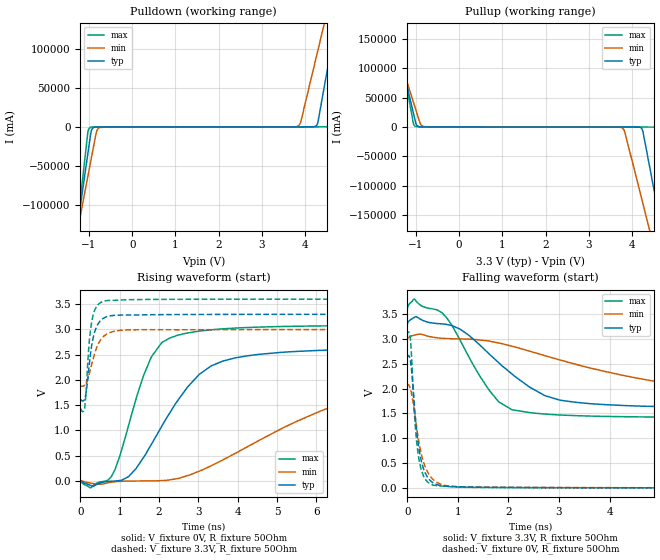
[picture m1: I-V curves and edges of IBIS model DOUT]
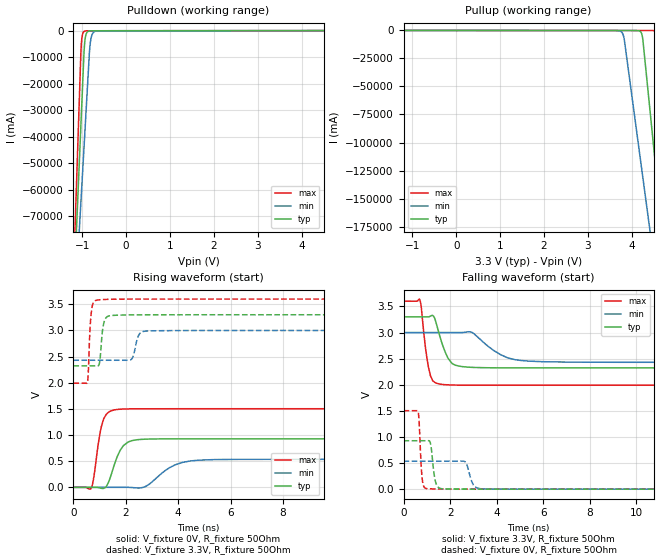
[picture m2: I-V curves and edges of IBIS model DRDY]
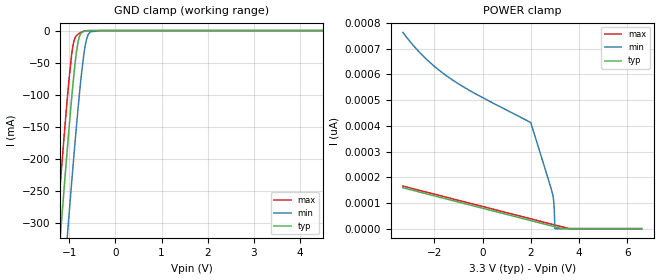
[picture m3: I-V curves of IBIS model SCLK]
|IBIS Model File - Generated by SIMDE
| http://www.iometh.com/Product/SIMDE
[IBIS Ver]   3.2
[File name]   max31865.ibs
[Date]   September 28, 2016
[File Rev]   1.0
[Source]   From silicon level SPICE model
[Notes]
[Disclaimer] Maxim Integrated Products, Inc. ("Maxim") hereby grants the
                user of this IBIS model ("User") a non-exclusive,
                nontransferable license to use this IBIS model under
                the following terms:
                1)  Before using this IBIS model, the User should read this
                license. If the User does not accept these terms,
                the IBIS model should not be used by the User;
                2)  The User is granted this license only to use the IBIS model
                and is not granted rights to sell, load, rent, lease or license
                the IBIS model in whole or in part, or in modified form to
                anyone other than User;
                3)  User may modify the IBIS model to suit its specific
                applications, but rights to derivative works and such
                modifications shall belong to Maxim;
                4)  This IBIS model is provided on an "AS IS" basis and Maxim
                makes absolutely no warranty with respect to the information
                contained herein;
                5)  MAXIMINTEGRATED DISCLAIMS AND USER WAIVES ALL WARRANTIES,
                EXPRESS OR IMPLIED, INCLUDING WARRANTIES OF MERCHANTABILITY AND
                FITNESS FOR A PARTICULAR PURPOSE;
                6)  The entire risk as to quality and performance is with the
                User. ACCORDINGLY, IN NO EVENT SHALL MAXIM BE LIABLE FOR ANY
                DAMAGES, WHETHER IN CONTRACT OR TORT, INCLUDING ANY LOST
                PROFITS OR OTHER INCIDENTAL, CONSEQUENTIAL, EXEMPLARY, OR
                PUNITIVE DAMAGES ARISING OUT OF THE USE OR APPLICATION OF
                THE IBIS model provided in this package;
                7)  Further, Maxim reserves the right to make changes without
                notice to any product herein to improve reliability, function,
                or design;
                8)  Maxim does not convey any license under patent rights or
                any other intellectual property rights, including those of
                third parties; and
                9)  Maxim is not obligated to provide maintenance or support
                for the licensed IBIS model.
[Copyright]   2016 Maxim Integrated Products, Inc.  All rights reserved.
|   Component MAX31865ATP
[Component]   MAX31865ATP
[Manufacturer]   Maxim Integrated Products
[Package]   |TQFN
|variable   typ   min   max
R_pkg   76m   70m   81m
L_pkg   0.85n   0.8n   0.90n
C_pkg   0.114p   0.1p   0.12p
[Pin]  signal_name  model_name  R_pin   L_pin   C_pin
1   BIAS   NC   NA   NA   NA
2   REFIN+   NC   NA   NA   NA
3   REFIN-   NC   NA   NA   NA
4   ISENSOR   NC   NA   NA   NA
5   FORCE+   NC   NA   NA   NA
6   FORCE2   NC   NA   NA   NA
7   RTDIN+   NC   NA   NA   NA
8   RTDIN-   NC   NA   NA   NA
9   FORCE-   NC   NA   NA   NA
10  GND2   GND   0.07   0.8n   0.1p
11  SDI   SCLK   0.073   0.8n   0.11p
12  SCLK   SCLK   0.071   0.8n   0.11p
13  CS   SCLK   0.075   0.9n   0.12p
14  SDO   DOUT   0.077   0.9n   0.12p
15  DGND   GND   0.08   0.9n   0.12p
16  GND1   GND   0.081   0.9n   0.12p
17  NC   NC   NA   NA   NA
18  DRDY   DRDY   0.074   0.8n   0.11p
19  DVDD   POWER   0.076   0.8n   0.11p
20  VDD   POWER   0.081   0.9n   0.12p
21  EP   GND   NA   NA   NA
[Component]   MAX31865AAP
[Manufacturer]   Maxim Integrated Products
[Package]   |SSOP
|variable   typ   min   max
R_pkg   76m   68m   84m
L_pkg   1.1n   1.0n   1.2n
C_pkg   0.109p   0.10p   0.12p
[Pin]   signal_name model_name  R_pin   L_pin   C_pin
1   DRDY   DRDY   0.079   1.1n   0.12p
2   DVDD   POWER   0.068   1.0n   0.11p
3   VDD   POWER   0.074   1.1n   0.12p
4   BIAS   NC   NA   NA   NA
5   REFIN+   NC   NA   NA   NA
6   REFIN-   NC   NA   NA   NA
7   ISENSOR   NC   NA   NA   NA
8   FORCE+   NC   NA   NA   NA
9   FORCE2   NC   NA   NA   NA
10  RTDIN+   NC   NA   NA   NA
11  RTDIN-   NC   NA   NA   NA
12  FORCE-   NC   NA   NA   NA
13  GND2   GND   0.073   1.1n   0.1p
14  SDI   SCLK   0.082   1.2n   0.11p
15  SCLK   SCLK   0.084   1.2n   0.11p
16  CS   SCLK   0.073   1.1n   0.1p
17  SDO   DOUT   0.084   1.2n   0.12p
18  DGND   GND   0.072   1.0n   0.1p
19  GND1   GND   0.069   1.0n   0.1p
20  NC   NC   NA   NA   NA
| Models and submodels in the file (3): DOUT (Output), DRDY (Output), SCLK (Input)
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|   DOUT
[Model]   DOUT
Model_type   Output
Polarity   Non-Inverting
Vmeas = 1.65
Vref = 0
Cref = 15pF
Rref = 1000
|   typ   min   max
C_comp   2.995e-12   3.271e-12   2.677e-12
|C_comp (ON state)   2.995e-12   3.271e-12   2.677e-12
|C_comp (OFF state)   2.239e-12   2.770e-12   1.902e-12
[Voltage Range]   3.3   3   3.6
[Temperature Range]   25   125   -40
[Pullup Reference]   3.3   3   3.6
[Pulldown Reference]   0   0   0
[Power Clamp Reference]   3.3   3   3.6
[GND Clamp Reference]   0   0   0
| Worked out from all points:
|   slope of the pulldown table from 0 to 0.495 V, typ, clamps not added: 44.2 ohm
|   slope of the pullup table from 0 to 0.495 V, typ, clamps not added: 12.1 ohm
|   falling waveform, V_fixture 3.3V, R_fixture 50Ohm: 20-80 % time 1.23ns typ, 2.83ns min, 766ps max; typ from 3.3 V to 1.6 V
|   rising waveform, V_fixture 0V, R_fixture 50Ohm: 20-80 % time 1.36ns typ, 3.54ns min, 763ps max; typ from 0 V to 2.63 V
|   rising waveform, V_fixture 3.3V, R_fixture 50Ohm: 20-80 % time 191ps typ, 283ps min, 139ps max; typ from 1.6 V to 3.3 V
|   falling waveform, V_fixture 0V, R_fixture 50Ohm: 20-80 % time 174ps typ, 233ps min, 131ps max; typ from 2.64 V to 0 V
[Pulldown]
|   Voltage   I(typ)   I(min)   I(max)
-3.3V     -919.8A    -726.7A    -1.139kA
-1.028V   -35.36A    -64.45A    -7.911A
-957mV    -7.846A    -43.64A    -271.8mA
-834mV    -89.97mA   -8.015A    -34.62mA
-744mV    -21.51mA   -593mA     -26.79mA
3.828V    57.05mA    912.7mA    84.49mA
3.9V      57.1mA     7.234A     84.59mA
4.28V     3.721A     95.83A     84.95mA
4.566V    90.84A     162.5A     183.3mA
4.616V    106.5A     174.3A     1.256A
4.656V    118.9A     183.5A     8.458A
6.597V    723.4A     636.2A     781.5A
[Pullup]
|   Voltage   I(typ)   I(min)   I(max)
-3.3V     722.6A     565.8A     899.7A
-1.057V   23.81A     42.5A      6.361A
-999.9mV  6.226A     29.13A     494mA
-900mV    215.6mA    6.115A     118.3mA
-807mV    80.48mA    458.8mA    103.6mA
3.774V    -118.5mA   -1.732A    -185.6mA
3.834V    -118.9mA   -9.605A    -186.1mA
4.237V    -4.811A    -127.1A    -190.2mA
4.537V    -119.3A    -214.6A    -330.8mA
4.588V    -139A      -229.3A    -1.693A
4.627V    -154.4A    -240.8A    -10.8A
6.597V    -921.2A    -815A      -991.4A
[Ramp]
R_load = 50
|   typ   min   max
dV/dt_r   1.58117/1.36272e-09   1.24723/3.54096e-09   1.84871/7.63312e-10
dV/dt_f   1.01928/1.22906e-09   0.672707/2.827e-09   1.30969/7.65942e-10
[Falling Waveform]
V_fixture = 3.3V
V_fixture_min = 3V
V_fixture_max = 3.6V
R_fixture = 50Ohm
C_fixture = 0F
|   Time   V(typ)   V(min)   V(max)
0s        3.3V       3V         3.6V
140.5ps   3.436V     3.08V      3.806V
688.7ps   3.306V     3.016V     3.53V
1.042ns   3.202V     3.003V     2.984V
1.445ns   2.87V      2.98V      2.236V
1.804ns   2.527V     2.922V     1.738V
2.467ns   2.004V     2.742V     1.511V
3.322ns   1.726V     2.494V     1.457V
6.09ns    1.62V      2.005V     1.422V
15ns      1.601V     1.879V     1.417V
[Rising Waveform]
V_fixture = 0V
V_fixture_min = 0V
V_fixture_max = 0V
R_fixture = 50Ohm
C_fixture = 0F
|   Time   V(typ)   V(min)   V(max)
0s        1.878nV    -1.247mV   1.682nV
262.3ps   -90.09mV   -44.84mV   -139.1mV
783.1ps   -7.405mV   -27.02mV   75.76mV
1.223ns   82.34mV    -4.866mV   1.09V
1.804ns   721.8mV    -1.342mV   2.454V
2.467ns   1.582V     44.34mV    2.883V
3.022ns   2.108V     192mV      2.966V
3.922ns   2.433V     538.5mV    3.026V
7.766ns   2.615V     1.772V     3.077V
15ns      2.635V     2.077V     3.081V
[Rising Waveform]
V_fixture = 3.3V
V_fixture_min = 3V
V_fixture_max = 3.6V
R_fixture = 50Ohm
C_fixture = 0F
|   Time   V(typ)   V(min)   V(max)
0s        1.601V     1.875V     1.417V
108ps     1.614V     1.893V     1.432V
153.3ps   1.776V     1.951V     1.855V
208.6ps   2.16V      2.073V     2.576V
232.5ps   2.341V     2.135V     2.805V
325.9ps   2.833V     2.414V     3.285V
450.9ps   3.111V     2.703V     3.493V
590.8ps   3.221V     2.86V      3.559V
1.3ns     3.285V     2.992V     3.59V
15ns      3.3V       3V         3.6V
[Falling Waveform]
|Gnd
V_fixture = 0V
V_fixture_min = 0V
V_fixture_max = 0V
R_fixture = 50Ohm
C_fixture = 0F
|   Time   V(typ)   V(min)   V(max)
0s        2.636V     2.076V     3.081V
36.65ps   2.656V     2.065V     3.137V
64.49ps   2.551V     1.985V     3.006V
154.3ps   1.498V     1.46V      1.323V
188.5ps   1.134V     1.205V     912.9mV
232.5ps   788.7mV    912mV      573.7mV
357.2ps   295.6mV    419.6mV    173.3mV
509.9ps   102.2mV    171.7mV    55.99mV
1.094ns   20.53mV    18.68mV    13.3mV
15ns      24.19uV    81.53uV    10.31uV
|   DRDY
[Model]   DRDY
Model_type   Output
Polarity   Non-Inverting
Vmeas = 1.65
Vref = 1.65
Cref = 15pF
Rref = 1000
|   typ   min   max
C_comp   1.526e-12   1.761e-12   1.367e-12
|C_comp (ON state)   1.526e-12   1.761e-12   1.367e-12
|C_comp (OFF state)   1.406e-12   1.670e-12   1.245e-12
[Voltage Range]   3.3   3   3.6
[Temperature Range]   25   125   -40
[Pullup Reference]   3.3   3   3.6
[Pulldown Reference]   0   0   0
[Power Clamp Reference]   3.3   3   3.6
[GND Clamp Reference]   0   0   0
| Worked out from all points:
|   slope of the pulldown table from 0 to 0.495 V, typ, clamps not added: 112 ohm
|   slope of the pullup table from 0 to 0.495 V, typ, clamps not added: 108 ohm
|   falling waveform, V_fixture 3.3V, R_fixture 50Ohm: 20-80 % time 450ps typ, 1.08ns min, 276ps max; typ from 3.3 V to 2.32 V
|   rising waveform, V_fixture 0V, R_fixture 50Ohm: 20-80 % time 427ps typ, 867ps min, 281ps max; typ from 0 V to 0.928 V
|   rising waveform, V_fixture 3.3V, R_fixture 50Ohm: 20-80 % time 115ps typ, 168ps min, 91ps max; typ from 2.32 V to 3.3 V
|   falling waveform, V_fixture 0V, R_fixture 50Ohm: 20-80 % time 150ps typ, 221ps min, 100ps max; typ from 0.928 V to 0 V
[Pulldown]
|   Voltage   I(typ)   I(min)   I(max)
-3.3V     -919.7A    -726.7A    -1.139kA
-1.036V   -38.15A    -66.54A    -11.21A
-1.021V   -32.54A    -62.34A    -5.528A
-1.007V   -26.94A    -58.15A    -2.718A
-963.6mV  -10.12A    -45.55A    -345mA
-943.8mV  -4.693A    -39.78A    -147.9mA
-904.2mV  -1.017A    -28.24A    -43.67mA
-837mV    -86.52mA   -8.738A    -22.43mA
-819mV    -48.68mA   -5.174A    -20.74mA
-774mV    -16.6mA    -1.398A    -17.44mA
-708mV    -8.341mA   -208.2mA   -13.82mA
6.597V    79.33mA    47.67mA    160mA
[Pullup]
|   Voltage   I(typ)   I(min)   I(max)
-3.3V     48.11mA    28.45mA    126.5mA
3.753V    -23mA      -914.6mA   -39.03mA
3.807V    -23.11mA   -4.355A    -39.18mA
3.834V    -23.18mA   -9.546A    -39.26mA
4.168V    -347.3mA   -106.9A    -40.2mA
4.231V    -3.651A    -125.1A    -40.63mA
4.257V    -10.14A    -132.8A    -41.03mA
4.451V    -85.58A    -189.3A    -52.36mA
4.566V    -130.4A    -222.9A    -564.4mA
4.602V    -144.4A    -233.4A    -3.086A
4.627V    -154.3A    -240.8A    -10.64A
6.597V    -921A      -814.9A    -991.2A
[Ramp]
R_load = 50
|   typ   min   max
dV/dt_r   0.556625/4.26723e-10   0.321527/8.64301e-10   0.901769/2.8093e-10
dV/dt_f   0.586249/4.50451e-10   0.342053/1.07961e-09   0.965376/2.76543e-10
[Falling Waveform]
V_fixture = 3.3V
V_fixture_min = 3V
V_fixture_max = 3.6V
R_fixture = 50Ohm
C_fixture = 0F
|   Time   V(typ)   V(min)   V(max)
0s        3.3V       3V         3.6V
702.2ps   3.3V       3V         3.623V
1.066ns   3.3V       3V         2.344V
1.295ns   3.309V     3V         2.061V
1.452ns   3.097V     3V         2.024V
1.907ns   2.51V      3V         1.998V
2.517ns   2.348V     3V         1.992V
2.93ns    2.333V     3.005V     1.991V
5.076ns   2.323V     2.463V     1.991V
15ns      2.323V     2.43V      1.991V
[Rising Waveform]
V_fixture = 0V
V_fixture_min = 0V
V_fixture_max = 0V
R_fixture = 50Ohm
C_fixture = 0F
|   Time   V(typ)   V(min)   V(max)
0s        2.727nV    3.241nV    2.271nV
684.1ps   -1.885uV   3.133nV    -11mV
1.066ns   -17.82mV   7.372nV    1.16V
1.295ns   49.49mV    31.31nV    1.415V
1.555ns   420.7mV    -626.2nV   1.48V
1.907ns   796.1mV    12.47uV    1.498V
2.517ns   914.6mV    -12.64mV   1.502V
3.882ns   926.8mV    430mV      1.503V
4.776ns   927.3mV    519mV      1.503V
15ns      927.7mV    535.9mV    1.503V
[Rising Waveform]
V_fixture = 3.3V
V_fixture_min = 3V
V_fixture_max = 3.6V
R_fixture = 50Ohm
C_fixture = 0F
|   Time   V(typ)   V(min)   V(max)
0s        2.323V     2.43V      1.991V
535.4ps   2.323V     2.43V      2.005V
684.1ps   2.323V     2.43V      3.348V
882.4ps   2.323V     2.43V      3.578V
1.008ns   2.411V     2.43V      3.586V
1.171ns   3.16V      2.43V      3.592V
1.425ns   3.284V     2.43V      3.596V
2.231ns   3.298V     2.455V     3.6V
2.789ns   3.299V     2.989V     3.6V
15ns      3.3V       3V         3.6V
[Falling Waveform]
|Gnd
V_fixture = 0V
V_fixture_min = 0V
V_fixture_max = 0V
R_fixture = 50Ohm
C_fixture = 0F
|   Time   V(typ)   V(min)   V(max)
0s        927.7mV    535.9mV    1.503V
621.1ps   927.7mV    535.9mV    1.488V
801.7ps   927.7mV    535.9mV    188.1mV
1.008ns   927.6mV    535.9mV    9.45mV
1.149ns   888.1mV    535.9mV    6.262mV
1.394ns   109.7mV    535.9mV    4.025mV
1.603ns   11.19mV    535.9mV    2.78mV
2.64ns    1.726mV    525.4mV    664.2uV
3.298ns   937.7uV    9.24mV     361.8uV
15ns      16.11uV    29.64uV    8.992uV
|   SCLK
[Model]   SCLK
Model_type   Input
Vinl = 1
Vinh = 2.3
|   typ   min   max
|C_comp values with magnitude order
C_comp   9.812e-13   7.631e-13   1.226e-12
|C_comp values with real corner order
|C_comp   9.812e-13   1.226e-12   7.631e-13
|C_comp (ON state)   9.812e-13   1.226e-12   7.631e-13
|C_comp (OFF state)   9.812e-13   1.226e-12   7.631e-13
[Voltage Range]   3.3   3   3.6
[Temperature Range]   25   125   -40
[Power Clamp Reference]   3.3   3   3.6
[GND Clamp Reference]   0   0   0
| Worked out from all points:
|   GND clamp passes 1 mA (typ) near -0.67 V on its own axis
[GND Clamp]
|   Voltage   I(typ)   I(min)   I(max)
-3.3V     -2.373A    -2.505A    -2.295A
-1.62V    -724.3mA   -862.4mA   -642.4mA
-1.226V   -349.6mA   -488.2mA   -267mA
-1.185V   -311.3mA   -449.7mA   -228.9mA
-1.056V   -194.7mA   -331.2mA   -115.1mA
-1.02V    -163.3mA   -298.8mA   -85.82mA
-902.4mV  -69.03mA   -195.8mA   -16.79mA
-811.8mV  -17.79mA   -121.7mA   -5.624mA
-740.4mV  -3.717mA   -69.57mA   -2.381mA
-639mV    -478.4uA   -16.99mA   -262uA
-549mV    -50.27uA   -1.978mA   -12.99uA
6.6V      0A         0A         0A
[POWER Clamp]
|   Voltage   I(typ)   I(min)   I(max)
-3.3V     159.3pA    763.4pA    165.5pA
-2.511V   140.1pA    676.2pA    146.6pA
-1.449V   114.4pA    591.5pA    121.1pA
-330mV    87.48pA    526.7pA    94.23pA
1.995V    31.56pA    413.1pA    38.43pA
2.907V    9.624pA    132.7pA    16.55pA
2.94V     8.83pA     114.6pA    15.75pA
2.961V    8.325pA    91.79pA    15.25pA
2.976V    7.965pA    63.5pA     14.89pA
3V        7.387pA    0A         14.31pA
3.594V    0A         0A         57.62fA
6.6V      0A         0A         0A
